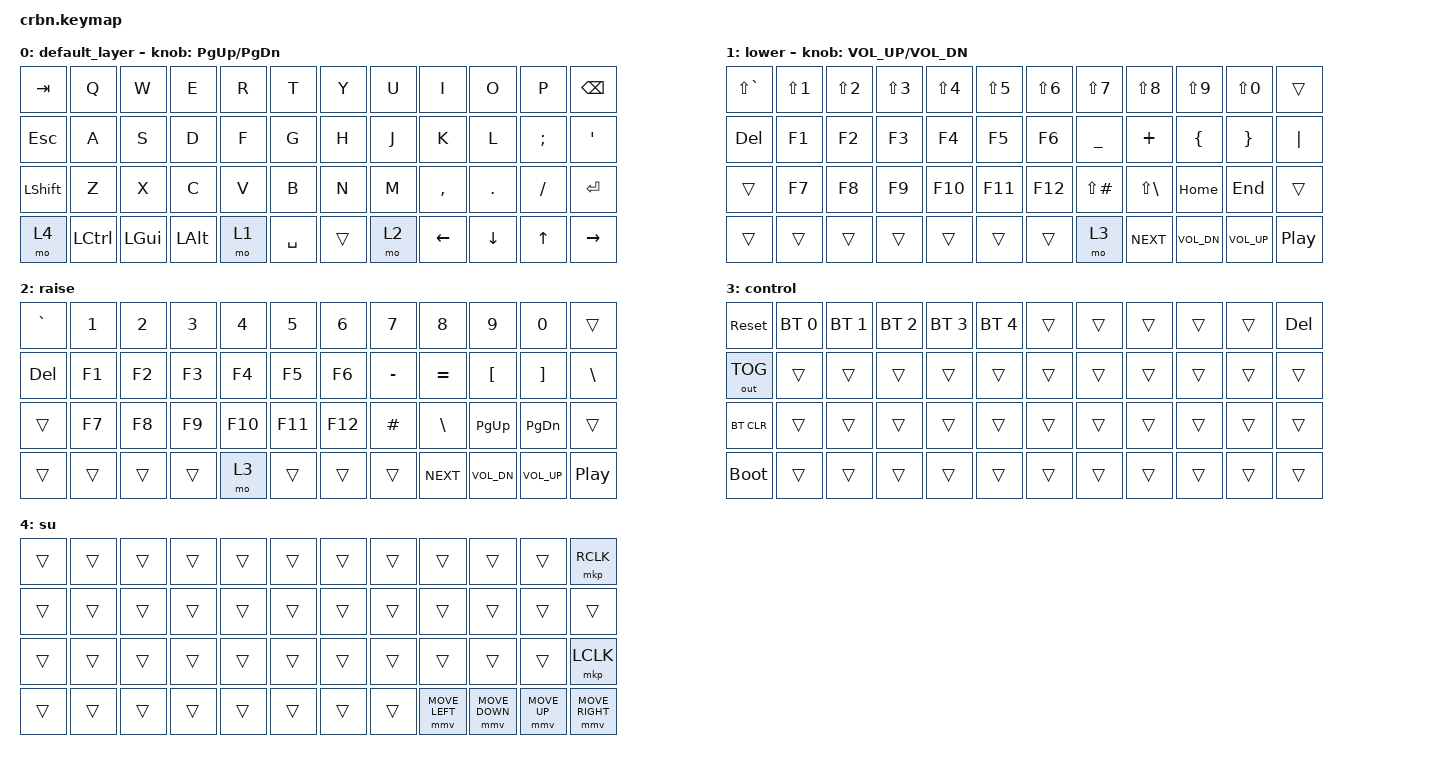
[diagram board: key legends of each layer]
/*
 * Copyright (c) 2020 The ZMK Contributors
 *
 * SPDX-License-Identifier: MIT
 */

#include <behaviors.dtsi>
#include <dt-bindings/zmk/keys.h>
#include <dt-bindings/zmk/bt.h>
#include <dt-bindings/zmk/outputs.h>

#define ZMK_POINTING_DEFAULT_MOVE_VAL 1500  // default: 600
#define ZMK_POINTING_DEFAULT_SCRL_VAL 20    // default: 10
#include <dt-bindings/zmk/pointing.h>

/ {
	keymap {
		compatible = "zmk,keymap";

		default_layer {
				// -----------------------------------------------------------------------------------------
				// |  TAB  |  Q   |  W   |  E   |  R   |  T   |   Y   |  U    |  I   |  O   |   P   | BSPC  |
				// |  ESC  |  A   |  S   |  D   |  F   |  G   |   H   |  J    |  K   |  L   |   ;   |  '    |
				// | SHIFT |  Z   |  X   |  C   |  V   |  B   |   N   |  M    |  ,   |  .   |   /   |  RET  |
				// | RSHIFT| LCTL | LGUI | LALT | LOWR |     SPACE    |  RAIS | LARW | DARW | UARW  |  RARW |
			bindings = <
				&kp TAB      &kp Q        &kp W       &kp E       &kp R    &kp T        &kp Y     &kp U    &kp I        &kp O      &kp P       &kp BSPC
				&kp ESC      &kp A        &kp S       &kp D       &kp F    &kp G        &kp H     &kp J    &kp K        &kp L      &kp SEMI    &kp SQT
				&kp LSHFT    &kp Z        &kp X       &kp C       &kp V    &kp B        &kp N     &kp M    &kp COMMA    &kp DOT    &kp FSLH    &kp RET
				&mo 4        &kp LCTRL    &kp LGUI    &kp LALT    &mo 1    &kp SPACE    &trans    &mo 2    &kp          LEFT       &kp DOWN    &kp UP &kp RIGHT
			>;

			sensor-bindings = <&inc_dec_kp PG_UP PG_DN>;
		};

		lower {
			bindings = <
				&kp LS(GRAVE)    &kp LS(N1)    &kp LS(N2)    &kp LS(N3)    &kp LS(N4)    &kp LS(N5)    &kp LS(N6)    &kp LS(N7)      &kp LS(N8)      &kp LS(N9)      &kp LS(N0)      &trans
				&kp DEL          &kp F1        &kp F2        &kp F3        &kp F4        &kp F5        &kp F6        &kp UNDER       &kp PLUS        &kp LBRC        &kp RBRC        &kp PIPE
				&trans           &kp F7        &kp F8        &kp F9        &kp F10       &kp F11       &kp F12       &kp LS(HASH)    &kp LS(BSLH)    &kp HOME        &kp END         &trans
				&trans           &trans        &trans        &trans        &trans        &trans        &trans        &mo 3           &kp C_NEXT      &kp C_VOL_DN    &kp C_VOL_UP    &kp C_PP
			>;

			sensor-bindings = <&inc_dec_kp C_VOL_UP C_VOL_DN>;
		};

		raise {
			bindings = <
				&kp GRAVE    &kp N1    &kp N2    &kp N3    &kp N4     &kp N5     &kp N6     &kp N7       &kp N8        &kp N9          &kp N0          &trans
				&kp DEL      &kp F1    &kp F2    &kp F3    &kp F4     &kp F5     &kp F6     &kp MINUS    &kp EQUAL     &kp LBKT        &kp RBKT        &kp BSLH
				&trans       &kp F7    &kp F8    &kp F9    &kp F10    &kp F11    &kp F12    &kp HASH     &kp BSLH      &kp PG_UP       &kp PG_DN       &trans
				&trans       &trans    &trans    &trans    &mo 3      &trans     &trans     &trans       &kp C_NEXT    &kp C_VOL_DN    &kp C_VOL_UP    &kp C_PP
			>;
		};
		
		control {
			bindings = <
				&sys_reset      &bt BT_SEL 0   &bt BT_SEL 1  &bt BT_SEL 2  &bt BT_SEL 3  &bt BT_SEL 4    &trans          &trans          &trans    &trans    &trans    &kp DEL
				&out OUT_TOG    &trans         &trans        &trans        &trans        &trans          &trans          &trans          &trans    &trans    &trans    &trans
				&bt BT_CLR      &trans         &trans        &trans        &trans        &trans          &trans          &trans          &trans    &trans    &trans    &trans
				&bootloader     &trans         &trans        &trans        &trans        &trans          &trans          &trans          &trans    &trans    &trans    &trans
			>;
		};

        su {
			bindings = <
				&trans    &trans    &trans    &trans    &trans    &trans    &trans    &trans    &trans            &trans            &trans          &mkp RCLK
				&trans    &trans    &trans    &trans    &trans    &trans    &trans    &trans    &trans            &trans            &trans          &trans
				&trans    &trans    &trans    &trans    &trans    &trans    &trans    &trans    &trans            &trans            &trans          &mkp LCLK
				&trans    &trans    &trans    &trans    &trans    &trans    &trans    &trans    &mmv MOVE_LEFT    &mmv MOVE_DOWN    &mmv MOVE_UP    &mmv MOVE_RIGHT
			>;
		};
	};
};
